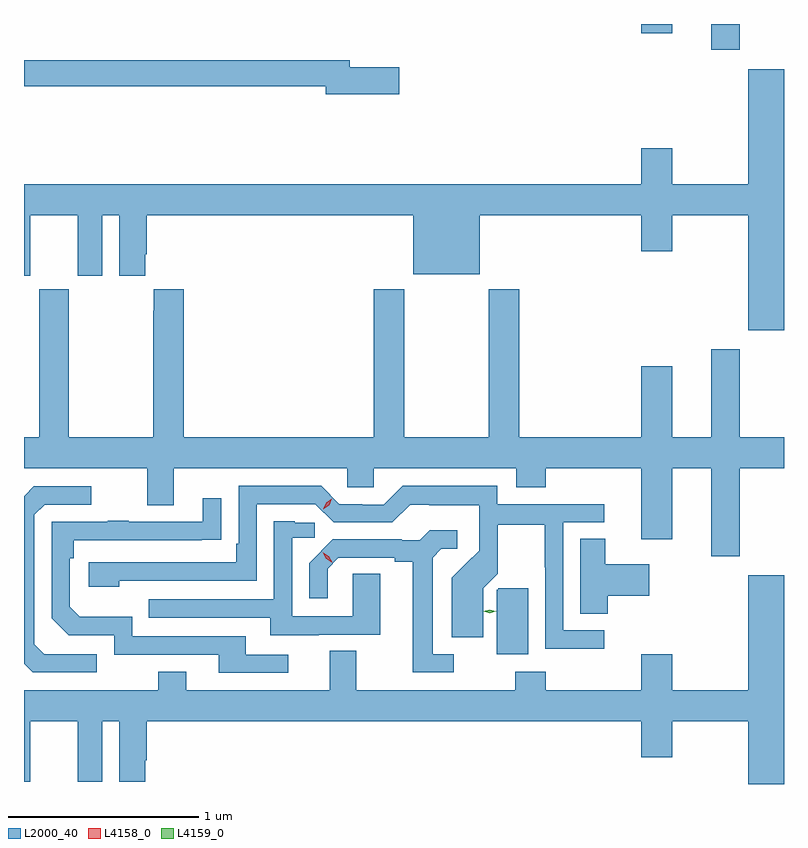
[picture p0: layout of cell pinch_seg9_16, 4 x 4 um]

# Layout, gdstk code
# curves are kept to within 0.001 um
import gdstk
lib = gdstk.Library(unit=1e-6, precision=1e-09)
def R(c, l, rs):  # rectangles x0, y0, x1, y1
    for r in rs: c.add(gdstk.rectangle(r[:2], r[2:], *l))
def P(c, l, *ps):  # polygons
    for p in ps: c.add(gdstk.Polygon(p, *l))
L2000_40 = (2000, 40)
L4158_0 = (4158, 0)
L4159_0 = (4159, 0)

pinch_seg9_16 = lib.new_cell('pinch_seg9_16')
R(pinch_seg9_16, L2000_40, [(1148.171,1209.279,1148.319,1209.415), (1147.802,1209.366,1147.966,1209.415)])
P(pinch_seg9_16, L2000_40, [(1146.529,1209.188),(1146.268,1209.188),(1146.268,1209.224),(1144.553,1209.224),(1144.553,1209.088),(1146.14,1209.088),(1146.14,1209.046),(1146.529,1209.046)],
  [(1148.553,1209.178),(1148.366,1209.178),(1148.366,1208.572),(1147.966,1208.572),(1147.966,1208.761),(1147.802,1208.761),(1147.802,1208.572),(1144.553,1208.572),(1144.553,1208.091),(1144.585,1208.091),(1144.585,1208.408),(1144.835,1208.408),(1144.835,1208.091),(1144.966,1208.091),(1144.966,1208.408),(1145.054,1208.408),(1145.054,1208.091),(1145.191,1208.091),(1145.191,1208.203),(1145.198,1208.203),(1145.198,1208.408),(1146.602,1208.408),(1146.602,1208.099),(1146.952,1208.099),(1146.952,1208.408),(1147.802,1208.408),(1147.802,1208.22),(1147.966,1208.22),(1147.966,1208.408),(1148.366,1208.408),(1148.366,1207.802),(1148.553,1207.802)],
  [(1148.319,1207.076),(1148.553,1207.076),(1148.553,1207.24),(1148.319,1207.24),(1148.319,1207.702),(1148.171,1207.702),(1148.171,1207.24),(1147.966,1207.24),(1147.966,1207.615),(1147.802,1207.615),(1147.802,1207.24),(1147.16,1207.24),(1147.16,1208.02),(1147,1208.02),(1147,1207.24),(1146.555,1207.24),(1146.555,1208.02),(1146.395,1208.02),(1146.395,1207.24),(1145.393,1207.24),(1145.393,1208.02),(1145.237,1208.02),(1145.237,1207.907),(1145.233,1207.907),(1145.233,1207.24),(1144.788,1207.24),(1144.788,1208.02),(1144.633,1208.02),(1144.633,1207.24),(1144.553,1207.24),(1144.553,1207.076),(1145.201,1207.076),(1145.201,1206.882),(1145.341,1206.882),(1145.341,1207.076),(1146.255,1207.076),(1146.255,1206.978),(1146.393,1206.978),(1146.393,1207.076),(1147.145,1207.076),(1147.145,1206.977),(1147.298,1206.977),(1147.298,1207.076),(1147.802,1207.076),(1147.802,1206.702),(1147.966,1206.702),(1147.966,1207.076),(1148.171,1207.076),(1148.171,1206.615),(1148.319,1206.615)],
  [(1147.606,1206.225),(1147.392,1206.225),(1147.392,1206.792),(1147.606,1206.792),(1147.606,1206.888),(1147.044,1206.888),(1147.044,1206.985),(1146.547,1206.985),(1146.447,1206.885),(1146.332,1206.885),(1146.332,1206.888),(1146.213,1206.888),(1146.117,1206.984),(1145.682,1206.984),(1145.682,1206.679),(1145.669,1206.679),(1145.669,1206.582),(1144.893,1206.582),(1144.893,1206.452),(1145.054,1206.452),(1145.054,1206.486),(1145.778,1206.486),(1145.778,1206.888),(1146.087,1206.888),(1146.183,1206.792),(1146.492,1206.792),(1146.585,1206.885),(1146.685,1206.885),(1146.685,1206.881),(1146.948,1206.881),(1146.948,1206.642),(1146.879,1206.573),(1146.877,1206.575),(1146.803,1206.501),(1146.803,1206.188),(1146.97,1206.188),(1146.97,1206.444),(1147.047,1206.521),(1147.047,1206.78),(1147.294,1206.78),(1147.294,1206.556),(1147.296,1206.556),(1147.296,1206.127),(1147.606,1206.127)],
  [(1144.936,1206.099),(1144.659,1206.099),(1144.608,1206.15),(1144.608,1206.831),(1144.662,1206.885),(1144.906,1206.885),(1144.906,1206.981),(1144.605,1206.981),(1144.553,1206.929),(1144.553,1206.049),(1144.599,1206.003),(1144.936,1206.003)],
  [(1145.944,1206.096),(1145.719,1206.096),(1145.719,1206.192),(1145.124,1206.192),(1145.124,1206.295),(1144.847,1206.295),(1144.794,1206.348),(1144.794,1206.602),(1144.814,1206.602),(1144.814,1206.699),(1145.591,1206.7),(1145.591,1206.919),(1145.495,1206.919),(1145.495,1206.795),(1145.105,1206.795),(1145.105,1206.8),(1144.993,1206.8),(1144.993,1206.795),(1144.698,1206.795),(1144.698,1206.288),(1144.788,1206.198),(1145.028,1206.198),(1145.028,1206.096),(1145.579,1206.096),(1145.579,1206),(1145.944,1206)],
  [(1146.103,1206.201),(1146.427,1206.201),(1146.427,1206.521),(1146.282,1206.521),(1146.282,1206.297),(1145.964,1206.297),(1145.964,1206.71),(1146.084,1206.71),(1146.084,1206.791),(1145.978,1206.791),(1145.978,1206.798),(1145.868,1206.798),(1145.868,1206.387),(1145.209,1206.387),(1145.209,1206.291),(1145.849,1206.291),(1145.849,1206.197),(1146.103,1206.197)],
  [(1146.814,1206.099),(1146.703,1206.099),(1146.703,1206.607),(1146.75,1206.654),(1146.832,1206.654),(1146.832,1206.751),(1146.688,1206.751),(1146.636,1206.699),(1146.542,1206.699),(1146.542,1206.702),(1146.178,1206.702),(1146.054,1206.578),(1146.054,1206.393),(1146.151,1206.393),(1146.151,1206.549),(1146.208,1206.606),(1146.503,1206.606),(1146.503,1206.584),(1146.599,1206.584),(1146.599,1206.003),(1146.814,1206.003)],
  [(1147.625,1206.406),(1147.843,1206.406),(1147.843,1206.571),(1147.612,1206.571),(1147.612,1206.707),(1147.481,1206.707),(1147.481,1206.31),(1147.625,1206.31)],
  [(1148.553,1206.514),(1148.366,1206.514),(1148.366,1205.908),(1147.966,1205.908),(1147.966,1206.097),(1147.802,1206.097),(1147.802,1205.908),(1147.298,1205.908),(1147.298,1206.007),(1147.138,1206.007),(1147.138,1205.908),(1146.301,1205.908),(1146.301,1206.116),(1146.161,1206.116),(1146.161,1205.908),(1145.407,1205.908),(1145.407,1206.007),(1145.26,1206.007),(1145.26,1205.908),(1144.553,1205.908),(1144.553,1205.427),(1144.585,1205.427),(1144.585,1205.744),(1144.835,1205.744),(1144.835,1205.427),(1144.966,1205.427),(1144.966,1205.744),(1145.054,1205.744),(1145.054,1205.427),(1145.191,1205.427),(1145.191,1205.539),(1145.198,1205.539),(1145.198,1205.744),(1147.802,1205.744),(1147.802,1205.556),(1147.966,1205.556),(1147.966,1205.744),(1148.366,1205.744),(1148.366,1205.415),(1148.553,1205.415)],
  [(1147.207,1206.446),(1147.05,1206.446),(1147.05,1206.438),(1147.04,1206.438),(1147.04,1206.098),(1147.207,1206.098)])
P(pinch_seg9_16, L4158_0, [(1146.174,1206.581),(1146.143,1206.601),(1146.126,1206.634),(1146.126,1206.634),(1146.126,1206.634),(1146.158,1206.614),(1146.175,1206.582),(1146.175,1206.581)],
  [(1146.128,1206.862),(1146.128,1206.862),(1146.143,1206.895),(1146.173,1206.917),(1146.173,1206.917),(1146.173,1206.916),(1146.159,1206.883),(1146.129,1206.862)])
P(pinch_seg9_16, L4159_0, [(1147.004,1206.313),(1146.971,1206.323),(1146.971,1206.323),(1146.971,1206.323),(1147.004,1206.333),(1147.037,1206.323),(1147.038,1206.323),(1147.037,1206.323)])

lib.write_gds('pinch_seg9_16.gds')
